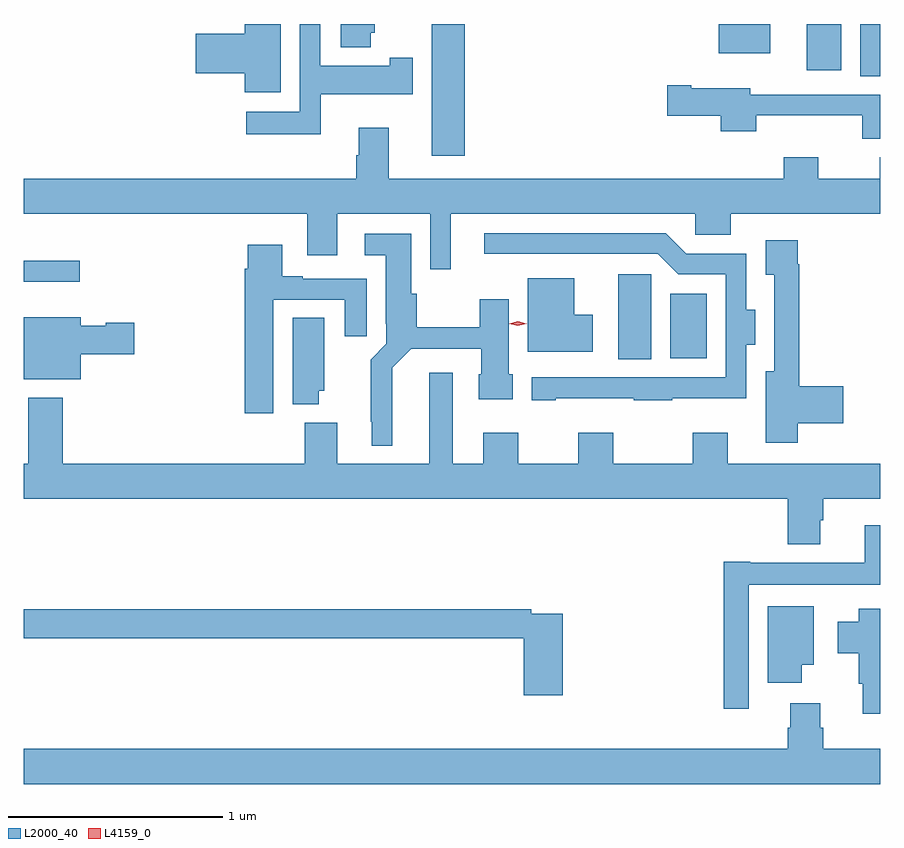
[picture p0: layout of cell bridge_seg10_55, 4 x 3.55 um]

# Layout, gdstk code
import gdstk
lib = gdstk.Library(unit=1e-6, precision=1e-09)
def R(c, l, rs):  # rectangles x0, y0, x1, y1
    for r in rs: c.add(gdstk.rectangle(r[:2], r[2:], *l))
def P(c, l, *ps):  # polygons
    for p in ps: c.add(gdstk.Polygon(p, *l))
L2000_40 = (2000, 40)
L4159_0 = (4159, 0)

bridge_seg10_55 = lib.new_cell('bridge_seg10_55')
R(bridge_seg10_55, L2000_40, [(852.197,1287.649,852.352,1288.045), (852.44,1287.653,852.61,1287.955), (849.421,1288.01,849.682,1288.107), (851.327,1288.599,851.48,1289.214), (853.328,1288.969,853.421,1289.214), (853.079,1288.998,853.24,1289.214), (852.668,1289.078,852.907,1289.214)])
P(bridge_seg10_55, L2000_40, [(850.621,1289.214),(850.454,1289.214),(850.454,1289.168),(850.224,1289.168),(850.224,1288.985),(850.454,1288.985),(850.454,1288.896),(850.621,1288.896)],
  [(851.041,1289.172),(851.059,1289.172),(851.059,1289.214),(850.902,1289.214),(850.902,1289.105),(851.041,1289.105)],
  [(850.807,1288.886),(851.238,1288.886),(851.238,1289.056),(851.13,1289.056),(851.13,1289.02),(850.806,1289.02),(850.806,1289.214),(850.71,1289.214),(850.71,1288.804),(850.461,1288.804),(850.461,1288.7),(850.807,1288.7)],
  [(853.421,1288.884),(852.814,1288.884),(852.814,1288.915),(852.538,1288.915),(852.538,1288.928),(852.426,1288.928),(852.426,1288.786),(852.677,1288.786),(852.677,1288.712),(852.842,1288.712),(852.842,1288.787),(853.338,1288.787),(853.338,1288.679),(853.421,1288.679)],
  [(851.416,1288.328),(852.558,1288.328),(852.558,1288.23),(852.722,1288.23),(852.722,1288.328),(853.421,1288.328),(853.421,1288.591),(853.42,1288.591),(853.42,1288.492),(853.131,1288.492),(853.131,1288.591),(852.971,1288.591),(852.971,1288.492),(851.125,1288.492),(851.125,1288.729),(850.985,1288.729),(850.985,1288.602),(850.973,1288.602),(850.973,1288.492),(849.421,1288.492),(849.421,1288.328),(850.745,1288.328),(850.745,1288.134),(850.885,1288.134),(850.885,1288.328),(851.319,1288.328),(851.319,1288.068),(851.416,1288.068)],
  [(851.905,1287.467),(852.271,1287.467),(852.271,1287.456),(852.449,1287.456),(852.449,1287.467),(852.795,1287.467),(852.795,1287.716),(852.838,1287.716),(852.838,1287.88),(852.796,1287.88),(852.796,1288.14),(852.516,1288.14),(852.42,1288.236),(851.571,1288.236),(851.571,1288.14),(852.381,1288.14),(852.477,1288.044),(852.699,1288.044),(852.699,1287.564),(851.793,1287.564),(851.793,1287.456),(851.905,1287.456)],
  [(851.143,1287.608),(851.23,1287.696),(851.558,1287.696),(851.558,1287.579),(851.546,1287.579),(851.546,1287.461),(851.704,1287.461),(851.704,1287.579),(851.686,1287.579),(851.686,1287.928),(851.551,1287.928),(851.551,1287.797),(851.256,1287.797),(851.256,1287.954),(851.23,1287.954),(851.23,1288.234),(851.013,1288.234),(851.013,1288.133),(851.111,1288.133),(851.111,1287.814),(851.115,1287.814),(851.115,1287.72),(851.041,1287.646),(851.041,1287.355),(851.045,1287.355),(851.045,1287.245),(851.143,1287.245)],
  [(853.037,1287.35),(853.249,1287.35),(853.249,1287.521),(853.043,1287.521),(853.043,1288.091),(853.036,1288.091),(853.036,1288.204),(852.887,1288.204),(852.887,1288.043),(852.927,1288.043),(852.927,1287.592),(852.887,1287.592),(852.887,1287.258),(853.037,1287.258)],
  [(850.585,1287.927),(850.919,1287.927),(850.919,1287.756),(851.023,1287.756),(851.023,1288.023),(850.723,1288.023),(850.723,1288.036),(850.627,1288.036),(850.627,1288.183),(850.466,1288.183),(850.466,1288.07),(850.454,1288.07),(850.454,1287.396),(850.585,1287.396)],
  [(852.079,1287.856),(851.992,1287.856),(851.992,1288.027),(851.774,1288.027),(851.774,1287.683),(852.079,1287.683)],
  [(849.688,1287.671),(849.937,1287.671),(849.937,1287.818),(849.804,1287.818),(849.804,1287.805),(849.688,1287.805),(849.688,1287.844),(849.421,1287.844),(849.421,1287.555),(849.457,1287.555),(849.457,1287.554),(849.688,1287.554)],
  [(850.798,1287.501),(850.825,1287.501),(850.825,1287.842),(850.676,1287.842),(850.676,1287.437),(850.798,1287.437)],
  [(853.141,1286.895),(853.154,1286.895),(853.154,1286.996),(853.421,1286.996),(853.421,1287.16),(852.709,1287.16),(852.709,1287.304),(852.545,1287.304),(852.545,1287.16),(852.175,1287.16),(852.175,1287.304),(852.011,1287.304),(852.011,1287.16),(851.731,1287.16),(851.731,1287.304),(851.567,1287.304),(851.567,1287.16),(851.425,1287.16),(851.425,1287.586),(851.315,1287.586),(851.315,1287.16),(850.885,1287.16),(850.885,1287.352),(850.733,1287.352),(850.733,1287.16),(849.602,1287.16),(849.602,1287.469),(849.442,1287.469),(849.442,1287.16),(849.421,1287.16),(849.421,1286.996),(852.989,1286.996),(852.989,1286.783),(853.141,1286.783)],
  [(852.807,1286.594),(853.421,1286.594),(853.421,1286.872),(853.349,1286.872),(853.349,1286.698),(852.814,1286.698),(852.814,1286.701),(852.691,1286.701),(852.691,1286.016),(852.807,1286.016)],
  [(853.054,1286.222),(853.111,1286.222),(853.111,1286.494),(852.896,1286.494),(852.896,1286.136),(853.054,1286.136)],
  [(853.421,1286.482),(853.322,1286.482),(853.322,1286.422),(853.223,1286.422),(853.223,1286.275),(853.322,1286.275),(853.322,1286.133),(853.34,1286.133),(853.34,1285.992),(853.421,1285.992)],
  [(851.939,1286.46),(851.792,1286.46),(851.792,1286.48),(849.421,1286.48),(849.421,1286.344),(851.756,1286.344),(851.756,1286.079),(851.939,1286.079)],
  [(853.421,1285.828),(853.154,1285.828),(853.154,1285.926),(853.141,1285.926),(853.141,1286.041),(853.001,1286.041),(853.001,1285.926),(852.989,1285.926),(852.989,1285.828),(849.421,1285.828),(849.421,1285.664),(853.421,1285.664)])
P(bridge_seg10_55, L4159_0, [(851.729,1287.805),(851.689,1287.815),(851.689,1287.815),(851.689,1287.815),(851.729,1287.825),(851.769,1287.815),(851.769,1287.814),(851.769,1287.814)])

lib.write_gds('bridge_seg10_55.gds')
